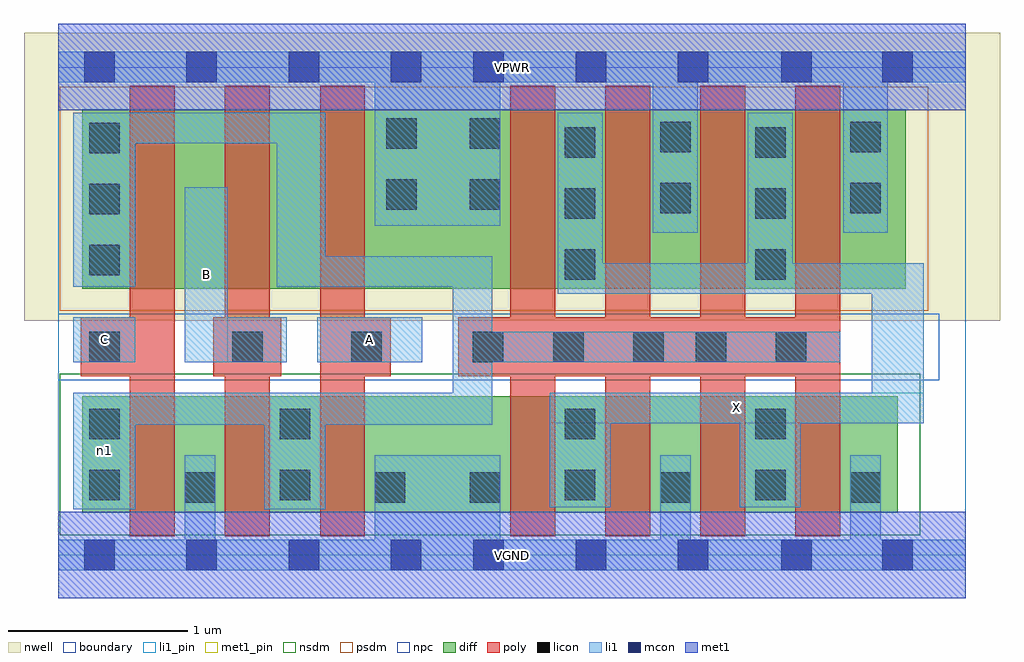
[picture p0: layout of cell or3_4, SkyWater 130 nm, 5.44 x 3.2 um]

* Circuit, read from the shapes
.subckt or3_4 A B C VGND VPWR X n1
XM1 VGND C n1 VSUBS sky130_fd_pr__nfet_01v8 w=0.65 l=0.25
XM2 n1 B VGND VSUBS sky130_fd_pr__nfet_01v8 w=0.65 l=0.25
XM3 VGND A n1 VSUBS sky130_fd_pr__nfet_01v8 w=0.65 l=0.25
XM4 X n1 VGND VSUBS sky130_fd_pr__nfet_01v8 w=0.65 l=0.25 m=4
XM5 n2 C n1 n3 sky130_fd_pr__pfet_01v8 w=1 l=0.25
XM6 n4 B n2 n3 sky130_fd_pr__pfet_01v8 w=1 l=0.25
XM7 VPWR A n4 n3 sky130_fd_pr__pfet_01v8 w=1 l=0.25
XM8 X n1 VPWR n3 sky130_fd_pr__pfet_01v8 w=1 l=0.25 m=4
.ends

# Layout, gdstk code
import gdstk
lib = gdstk.Library(unit=1e-6, precision=1e-09)
def R(c, l, rs):  # rectangles x0, y0, x1, y1
    for r in rs: c.add(gdstk.rectangle(r[:2], r[2:], *l))
def A(c, l, x, y, w, h, nx, ny, dx, dy):  # array of equal rectangles
    R(c, l, [(x+i*dx, y+j*dy, x+i*dx+w, y+j*dy+h) for i in range(nx) for j in range(ny)])
nwell = (64, 20)
diff = (65, 20)
poly = (66, 20)
licon = (66, 44)
li1_pin = (67, 16)
li1 = (67, 20)
mcon = (67, 44)
met1_pin = (68, 16)
met1 = (68, 20)
nsdm = (93, 44)
psdm = (94, 20)
npc = (95, 20)
boundary = (235, 4)

or3_4 = lib.new_cell('or3_4')
R(or3_4, nwell, [(-0.19,1.305,5.25,2.91), (0,1.305,5.06,2.91)])
R(or3_4, diff, [(0.135,0.235,4.68,0.885), (0.135,1.485,4.725,2.485)])
A(or3_4, poly, 0.4, 0.105, 0.25, 2.51, 3, 1, 0.53, 0)
A(or3_4, poly, 2.52, 0.105, 0.25, 2.51, 4, 1, 0.53, 0)
R(or3_4, poly, [(0.125,0.995,0.65,1.325), (0.865,0.995,1.245,1.325), (1.46,0.995,1.855,1.325), (2.23,0.995,4.36,1.325)])
A(or3_4, licon, 2.295, 0.29, 0.17, 0.17, 3, 1, 1.06, 0)
A(or3_4, licon, 2.825, 1.535, 0.17, 0.17, 1, 3, 0, 0.34)
A(or3_4, licon, 3.885, 1.535, 0.17, 0.17, 1, 3, 0, 0.34)
A(or3_4, licon, 0.175, 1.56, 0.17, 0.17, 1, 3, 0, 0.34)
R(or3_4, licon, [(0.705,0.29,0.875,0.46), (1.765,0.29,1.935,0.46), (0.175,0.305,0.345,0.475), (1.235,0.305,1.405,0.475), (2.825,0.305,2.995,0.475), (3.885,0.305,4.055,0.475), (0.175,0.645,0.345,0.815), (1.235,0.645,1.405,0.815), (2.825,0.645,2.995,0.815), (3.885,0.645,4.055,0.815), (0.175,1.075,0.345,1.245), (0.97,1.075,1.14,1.245), (1.635,1.075,1.805,1.245), (2.31,1.075,2.48,1.245), (2.76,1.075,2.93,1.245), (3.205,1.075,3.375,1.245), (3.555,1.075,3.725,1.245), (4,1.075,4.17,1.245), (3.355,1.905,3.525,2.075), (4.415,1.905,4.585,2.075), (1.83,1.925,2,2.095), (2.295,1.925,2.465,2.095), (3.355,2.245,3.525,2.415), (4.415,2.245,4.585,2.415), (1.83,2.265,2,2.435), (2.295,2.265,2.465,2.435)])
R(or3_4, li1_pin, [(2.74,0.735,4.825,0.905), (0.085,1.075,0.43,1.325), (0.705,1.075,0.945,2.05), (1.445,1.075,2.03,1.325)])
R(or3_4, li1, [(0,-0.085,5.06,0.085), (0.705,-0.085,0.875,0.555), (1.765,-0.085,2.465,0.555), (3.355,-0.085,3.525,0.555), (4.415,-0.085,4.585,0.555), (0.085,0.255,0.43,0.905), (1.15,0.255,1.49,0.905), (2.74,0.265,3.08,0.905), (3.8,0.265,4.14,0.905), (0.085,0.725,2.42,0.905), (2.2,0.725,2.42,1.665), (2.74,0.735,4.825,0.905), (4.535,0.735,4.825,1.625), (0.085,1.075,0.43,1.325), (0.705,1.075,0.945,2.05), (0.705,1.075,1.275,1.325), (1.445,1.075,2.03,1.325), (2.2,1.075,4.36,1.245), (2.785,1.455,4.825,1.625), (2.785,1.455,3.035,2.465), (3.845,1.455,4.095,2.465), (0.085,1.495,0.43,2.465), (1.22,1.495,1.49,2.465), (1.22,1.495,2.42,1.665), (3.315,1.795,3.565,2.805), (4.375,1.795,4.625,2.805), (1.765,1.835,2.465,2.805), (0.085,2.295,1.49,2.465), (0,2.635,5.06,2.805)])
A(or3_4, mcon, 0.145, -0.085, 0.17, 0.17, 4, 2, 0.57, 2.72)
A(or3_4, mcon, 2.315, -0.085, 0.17, 0.17, 3, 2, 0.57, 2.72)
R(or3_4, mcon, [(4.03,-0.085,4.2,0.085), (4.595,-0.085,4.765,0.085), (4.03,2.635,4.2,2.805), (4.595,2.635,4.765,2.805)])
R(or3_4, met1_pin, [(0,-0.24,5.06,0.24), (0,2.48,5.06,2.96)])
R(or3_4, met1, [(0,-0.24,5.06,0.24), (0,2.48,5.06,2.96)])
R(or3_4, nsdm, [(0.01,0.11,4.805,1.01)])
R(or3_4, psdm, [(0.01,1.36,4.85,2.61)])
R(or3_4, npc, [(0,0.975,4.91,1.345)])
R(or3_4, boundary, [(0,0,5.06,2.72)])
or3_4.add(gdstk.Label('A', (1.737,1.2), layer=67, texttype=5))
or3_4.add(gdstk.Label('B', (0.825,1.562), layer=67, texttype=5))
or3_4.add(gdstk.Label('C', (0.257,1.2), layer=67, texttype=5))
or3_4.add(gdstk.Label('X', (3.782,0.82), layer=67, texttype=5))
or3_4.add(gdstk.Label('n1', (0.257,0.58), layer=67, texttype=5))
or3_4.add(gdstk.Label('VPWR', (2.53,2.72), layer=68, texttype=5))
or3_4.add(gdstk.Label('VGND', (2.53,0), layer=68, texttype=5))
or3_4.add(gdstk.Label('A', (1.737,1.2), layer=67, texttype=16))
or3_4.add(gdstk.Label('B', (0.825,1.562), layer=67, texttype=16))
or3_4.add(gdstk.Label('C', (0.257,1.2), layer=67, texttype=16))
or3_4.add(gdstk.Label('X', (3.782,0.82), layer=67, texttype=16))
or3_4.add(gdstk.Label('VPWR', (2.53,2.72), layer=68, texttype=16))
or3_4.add(gdstk.Label('VGND', (2.53,0), layer=68, texttype=16))

lib.write_gds('or3_4.gds')
